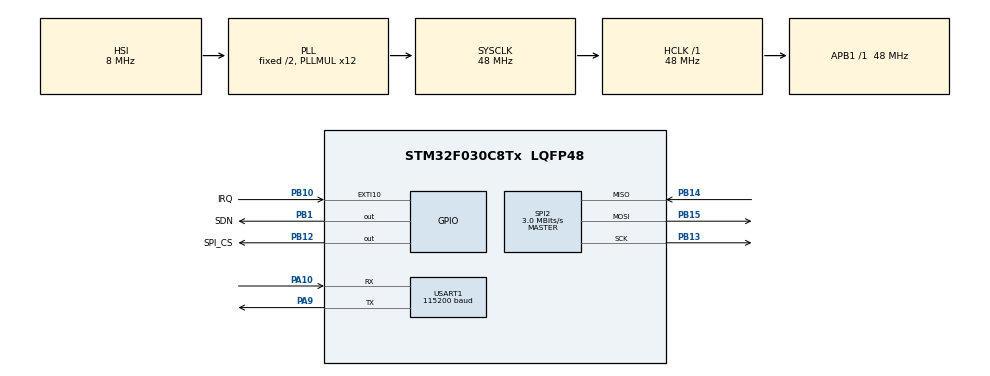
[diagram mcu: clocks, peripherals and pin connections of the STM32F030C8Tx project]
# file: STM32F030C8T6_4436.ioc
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Mcu.Family=STM32F0
Mcu.Name=STM32F030C8Tx
Mcu.Package=LQFP48
NVIC.EXTI4_15_IRQn=true\:0\:0\:false\:false\:true\:true\:true\:true
PA10.Mode=Asynchronous
PA10.Signal=USART1_RX
PA9.Mode=Asynchronous
PA9.Signal=USART1_TX
PB1.GPIO_Label=SDN
PB1.GPIO_ModeDefaultOutputPP=GPIO_MODE_OUTPUT_PP
PB1.PinState=GPIO_PIN_RESET
PB1.Signal=GPIO_Output
PB10.GPIO_Label=IRQ
PB10.GPIO_ModeDefaultEXTI=GPIO_MODE_IT_FALLING
PB10.GPIO_PuPd=GPIO_PULLUP
PB10.Signal=GPXTI10
PB12.GPIO_Label=SPI_CS
PB12.GPIO_ModeDefaultOutputPP=GPIO_MODE_OUTPUT_PP
PB12.GPIO_PuPd=GPIO_PULLUP
PB12.GPIO_Speed=GPIO_SPEED_FREQ_HIGH
PB12.PinState=GPIO_PIN_SET
PB12.Signal=GPIO_Output
PB13.Mode=Full_Duplex_Master
PB13.Signal=SPI2_SCK
PB14.Mode=Full_Duplex_Master
PB14.Signal=SPI2_MISO
PB15.Mode=Full_Duplex_Master
PB15.Signal=SPI2_MOSI
ProjectManager.HeapSize=0x200
ProjectManager.StackSize=0x400
ProjectManager.TargetToolchain=STM32CubeIDE
RCC.AHBFreq_Value=48000000
RCC.APB1Freq_Value=48000000
RCC.APB1TimFreq_Value=48000000
RCC.HCLKFreq_Value=48000000
RCC.PLLMUL=RCC_PLL_MUL12
RCC.SYSCLKFreq_VALUE=48000000
RCC.SYSCLKSource=RCC_SYSCLKSOURCE_PLLCLK
SPI2.BaudRatePrescaler=SPI_BAUDRATEPRESCALER_16
SPI2.CalculateBaudRate=3.0 MBits/s
SPI2.DataSize=SPI_DATASIZE_8BIT
SPI2.Direction=SPI_DIRECTION_2LINES
SPI2.Mode=SPI_MODE_MASTER
SPI2.VirtualType=VM_MASTER
USART1.BaudRate=115200
USART1.VirtualMode-Asynchronous=VM_ASYNC
board=custom

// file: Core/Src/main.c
/* USER CODE BEGIN Header */
/**
 ******************************************************************************
 * @file           : main.c
 * @brief          : Main program body
 ******************************************************************************
 * @attention
 *
 * Copyright (c) 2026 STMicroelectronics.
 * All rights reserved.
 *
 * This software is licensed under terms that can be found in the LICENSE file
 * in the root directory of this software component.
 * If no LICENSE file comes with this software, it is provided AS-IS.
 *
 ******************************************************************************
 */
/* USER CODE END Header */
#include "main.h"
#include "spi.h"
#include "usart.h"
#include "gpio.h"

/* USER CODE BEGIN Includes */
#include <stdio.h>
#include "si4463_app.h"
/* USER CODE END Includes */

/* USER CODE BEGIN PD */
static uint8_t tx[16];
static uint8_t rx[64];
static unsigned seq;
static uint32_t last_tx;
/* USER CODE END PD */

void SystemClock_Config(void);

int main(void)
{

    /* MCU Configuration--------------------------------------------------------*/

    /* Reset of all peripherals, Initializes the Flash interface and the Systick. */
    HAL_Init();

    /* Configure the system clock */
    SystemClock_Config();

    /* Initialize all configured peripherals */
    MX_GPIO_Init();
    MX_USART1_UART_Init();
    MX_SPI2_Init();
    /* USER CODE BEGIN 2 */

    // 初始化si4463硬件
    while (si4463_init() != 0) {
        printf("si4463 init failed\r\n");
        HAL_Delay(1000);
    }

    si4463_rx_start(0);

    /* USER CODE END 2 */

    /* Infinite loop */
    /* USER CODE BEGIN WHILE */
    while (1) {
        // 发送数据
        if (HAL_GetTick() - last_tx >= 1000) /* 每秒发一次 */
        {
            last_tx = HAL_GetTick();
            int tl  = snprintf((char *)tx, sizeof tx, "WF %u", seq++);
            printf("TX %s -> %d\r\n", (char *)tx, si4463_tx(0, tx, (uint8_t)tl));
            si4463_rx_start(0); /* 发完回接收 */
        }

        // 接收数据
        uint8_t len = 0;
        int16_t rn  = si4463_rx_fetch(rx, sizeof rx, &len, 10); /* 听 10ms */
        if (rn > 0) {
            printf("RX %.*s\r\n", (int)len, (char *)rx); /* 收到就打印 */
            si4463_rx_start(0);
        } else if (rn != SI4463_ERR_TIMEOUT) {
            si4463_rx_start(0);
        }

        /* USER CODE END WHILE */

    }
}

void SystemClock_Config(void)
{
    RCC_OscInitTypeDef RCC_OscInitStruct   = {0};
    RCC_ClkInitTypeDef RCC_ClkInitStruct   = {0};
    RCC_PeriphCLKInitTypeDef PeriphClkInit = {0};

    /** Initializes the RCC Oscillators according to the specified parameters
     * in the RCC_OscInitTypeDef structure.
     */
    RCC_OscInitStruct.OscillatorType      = RCC_OSCILLATORTYPE_HSI;
    RCC_OscInitStruct.HSIState            = RCC_HSI_ON;
    RCC_OscInitStruct.HSICalibrationValue = RCC_HSICALIBRATION_DEFAULT;
    RCC_OscInitStruct.PLL.PLLState        = RCC_PLL_ON;
    RCC_OscInitStruct.PLL.PLLSource       = RCC_PLLSOURCE_HSI;
    RCC_OscInitStruct.PLL.PLLMUL          = RCC_PLL_MUL12;
    RCC_OscInitStruct.PLL.PREDIV          = RCC_PREDIV_DIV1;
    if (HAL_RCC_OscConfig(&RCC_OscInitStruct) != HAL_OK) {
        Error_Handler();
    }

    /** Initializes the CPU, AHB and APB buses clocks
     */
    RCC_ClkInitStruct.ClockType      = RCC_CLOCKTYPE_HCLK | RCC_CLOCKTYPE_SYSCLK | RCC_CLOCKTYPE_PCLK1;
    RCC_ClkInitStruct.SYSCLKSource   = RCC_SYSCLKSOURCE_PLLCLK;
    RCC_ClkInitStruct.AHBCLKDivider  = RCC_SYSCLK_DIV1;
    RCC_ClkInitStruct.APB1CLKDivider = RCC_HCLK_DIV1;

    if (HAL_RCC_ClockConfig(&RCC_ClkInitStruct, FLASH_LATENCY_1) != HAL_OK) {
        Error_Handler();
    }
    PeriphClkInit.PeriphClockSelection = RCC_PERIPHCLK_USART1;
    PeriphClkInit.Usart1ClockSelection = RCC_USART1CLKSOURCE_PCLK1;
    if (HAL_RCCEx_PeriphCLKConfig(&PeriphClkInit) != HAL_OK) {
        Error_Handler();
    }
}

/* USER CODE BEGIN 4 */

int __io_putchar(int ch)
{
    HAL_UART_Transmit(&huart1, (uint8_t *)&ch, 1, HAL_MAX_DELAY);
    return ch;
}

/* USER CODE END 4 */

void Error_Handler(void)
{
    __disable_irq();
    while (1) {
    }
}
